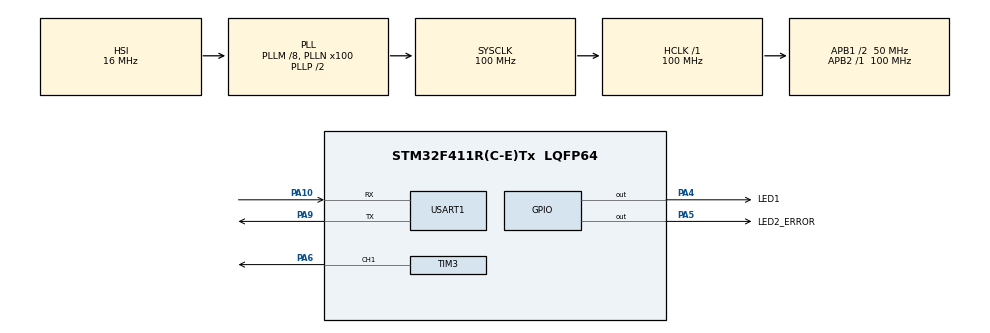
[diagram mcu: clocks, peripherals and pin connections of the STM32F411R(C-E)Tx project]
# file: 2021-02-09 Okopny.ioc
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Mcu.Family=STM32F4
Mcu.Name=STM32F411R(C-E)Tx
Mcu.Package=LQFP64
NVIC.PriorityGroup=NVIC_PRIORITYGROUP_4
NVIC.RTC_Alarm_IRQn=true\:0\:0\:false\:false\:true\:true\:true\:true
NVIC.RTC_WKUP_IRQn=true\:0\:0\:false\:false\:true\:true\:true\:true
NVIC.USART1_IRQn=true\:0\:0\:false\:false\:true\:true\:true\:true
PA10.Mode=Asynchronous
PA10.Signal=USART1_RX
PA13.Mode=Serial_Wire
PA13.Signal=SYS_JTMS-SWDIO
PA14.Mode=Serial_Wire
PA14.Signal=SYS_JTCK-SWCLK
PA4.GPIO_Label=LED1
PA4.Signal=GPIO_Output
PA5.GPIO_Label=LED2_ERROR
PA5.Signal=GPIO_Output
PA6.Signal=S_TIM3_CH1
PA9.Mode=Asynchronous
PA9.Signal=USART1_TX
PC14-OSC32_IN.Mode=LSE-External-Oscillator
PC14-OSC32_IN.Signal=RCC_OSC32_IN
PC15-OSC32_OUT.Mode=LSE-External-Oscillator
PC15-OSC32_OUT.Signal=RCC_OSC32_OUT
PH0\ -\ OSC_IN.Mode=HSE-External-Oscillator
PH0\ -\ OSC_IN.Signal=RCC_OSC_IN
PH1\ -\ OSC_OUT.Mode=HSE-External-Oscillator
PH1\ -\ OSC_OUT.Signal=RCC_OSC_OUT
ProjectManager.HeapSize=0x200
ProjectManager.StackSize=0x400
ProjectManager.TargetToolchain=EWARM V8.50
RCC.48MHZClocksFreq_Value=50000000
RCC.AHBFreq_Value=100000000
RCC.APB1CLKDivider=RCC_HCLK_DIV2
RCC.APB1Freq_Value=50000000
RCC.APB1TimFreq_Value=100000000
RCC.APB2Freq_Value=100000000
RCC.APB2TimFreq_Value=100000000
RCC.CortexFreq_Value=100000000
RCC.HCLKFreq_Value=100000000
RCC.HSE_VALUE=8000000
RCC.HSI_VALUE=16000000
RCC.PLLM=8
RCC.PLLN=100
RCC.RCC_RTC_Clock_Source=RCC_RTCCLKSOURCE_LSE
RCC.RCC_RTC_Clock_SourceVirtual=RCC_RTCCLKSOURCE_LSE
RCC.SYSCLKFreq_VALUE=100000000
RCC.SYSCLKSource=RCC_SYSCLKSOURCE_PLLCLK
RCC.VCOOutputFreq_Value=200000000
RTC.Alarm=RTC_ALARM_A
RTC.AlarmMaskDateWeekDay=RTC_ALARMMASK_DATEWEEKDAY
RTC.AlarmMaskDateWeekDay_B=RTC_ALARMMASK_DATEWEEKDAY
RTC.Alarm_B=RTC_ALARM_B
RTC.Format=RTC_FORMAT_BIN
RTC.WakeUpClock=RTC_WAKEUPCLOCK_CK_SPRE_16BITS
SH.S_TIM3_CH1.0=TIM3_CH1,PWM Generation1 CH1
TIM3.Channel-PWM\ Generation1\ CH1=TIM_CHANNEL_1
USART1.VirtualMode=VM_ASYNC
VP_RTC_VS_RTC_Activate.Mode=RTC_Enabled
VP_RTC_VS_RTC_Alarm_A_Intern.Mode=Alarm A
VP_RTC_VS_RTC_Alarm_B_Intern.Mode=Alarm B
VP_RTC_VS_RTC_Calendar.Mode=RTC_Calendar
VP_RTC_VS_RTC_WakeUp_intern.Mode=WakeUp
VP_TIM3_VS_ClockSourceINT.Mode=Internal
board=custom

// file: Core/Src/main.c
/* USER CODE BEGIN Header */
/**
  ******************************************************************************
  * @file           : main.c
  * @brief          : Main program body
  ******************************************************************************
  * @attention
  *
  * <h2><center>&copy; Copyright (c) 2021 STMicroelectronics.
  * All rights reserved.</center></h2>
  *
  * This software component is licensed by ST under BSD 3-Clause license,
  * the "License"; You may not use this file except in compliance with the
  * License. You may obtain a copy of the License at:
  *                        opensource.org/licenses/BSD-3-Clause
  *
  ******************************************************************************
  */
/* USER CODE END Header */
#include "main.h"

/* USER CODE BEGIN Includes */
#include <stdio.h>
#include <stdbool.h>
/* USER CODE END Includes */

/* USER CODE BEGIN PD */
#define KEY_ENTER	13
#define KEY_RIGHT	68
#define KEY_LEFT	67
#define KEY_DOWN	66
#define KEY_UP		65
// курсор и меню...
#define CURSOR_START	23
#define MENU_ITEM		6
/* USER CODE END PD */

/* USER CODE BEGIN PM */
#define CURSOR_PRINT(x) printf("\x1B[%u;15H       \x1B[%u;15H       \x1B[%u;15H >>>>>>", x + 1, x - 1, x) /* вывод курсора главного меню */

/* USER CODE END PM */

RTC_HandleTypeDef hrtc;

TIM_HandleTypeDef htim3;

UART_HandleTypeDef huart1;

/* USER CODE BEGIN PV */
RTC_TimeTypeDef sTime = {0};
RTC_DateTypeDef sDate = {0};
RTC_AlarmTypeDef sAlarm = {0};
uint8_t uartBuf[1]; // буффер для получения символа от UART по прерыванию
uint8_t cursorPos = CURSOR_START; // текущая позиция курсора на главном экране
uint8_t menu = 0; // хранит номер выбранного пункта меню или 0
bool echo = false; // флаг управления выводом эхо на экран при вводе значений
/* USER CODE END PV */

void SystemClock_Config(void);
static void MX_GPIO_Init(void);
static void MX_RTC_Init(void);
static void MX_TIM3_Init(void);
static void MX_USART1_UART_Init(void);
/* USER CODE BEGIN PFP */
void showMainMemu(); // главный экран
void showDialog(char *head, char *pattern); // формируем стандартный диалог
void showSetDateMemu(); // меню установки даты
void showSetTimeMemu(); // меню установки времени
void showSetAlarmTimeONMemu(); // меню установки будильника на включение светодиода
void showSetAlarmTimeOFFMemu(); // меню установки будильника на выключение светодиода
void showParseStringMemu(); // меню парсинга
void showSetPWMMemu(); // меню установки будильника на включение светодиода
/* USER CODE END PFP */

/* USER CODE BEGIN 0 */
int MyLowLevelPutchar(int x) // отправка байта в UART через printf и пр.
{
  	HAL_UART_Transmit(&huart1, (uint8_t *)&x, 1, 0xFFFF);
	return(x);
}

int MyLowLevelGetchar() // получение байта из UART в блокировочном режиме через scanf и пр.
{
  	uint8_t x;
	do
	{
	  	HAL_UART_Receive(&huart1, (uint8_t *)&x, 1, 0xFFFF);
	}
	while(x == 0);
	if(echo)
		printf("%c", x); // вывод эха если нужно
	return((int)x);
}

void HAL_UART_RxCpltCallback(UART_HandleTypeDef *huart) // калбек по приему от UART
{
	if(huart == &huart1)
	{
		// обрабатываем нажатия клавиш
		switch(uartBuf[0])
		{
		case KEY_UP:
			if(cursorPos > CURSOR_START) cursorPos--;
			break;
		case KEY_DOWN:
			if(cursorPos < CURSOR_START + MENU_ITEM - 1) cursorPos++;
			break;
		case KEY_ENTER:
			menu = cursorPos - CURSOR_START + 1; // говорим основной программе какой пункт меню выбран
			break;
		}

		if(uartBuf[0] != 0x1B) // двигаем курсор только при получении кода клавиши, пропустив начало управляющей последовательности 0x1B
			CURSOR_PRINT(cursorPos); // вывод курсора главного меню

		HAL_UART_Receive_IT(&huart1, (uint8_t*)uartBuf, 1); // опять разрешаем прерывание по приему от UART, вызов колбека после получения каждого байта
	}
}

void HAL_RTCEx_WakeUpTimerEventCallback(RTC_HandleTypeDef *hrtc) // калбек WakeUp таймера
{
	// обновляем значение времени в консоли каждую секунду

	// прочитаем DT из RTC
	HAL_RTC_GetTime(hrtc, &sTime, RTC_FORMAT_BIN);
	HAL_RTC_GetDate(hrtc, &sDate, RTC_FORMAT_BIN);

	// выводим дату/время
	printf("\x1B[s"); // сохраняем текущую позицию курсора, чтобы ничего ненарушить в основной программе
	printf("\x1B[14;50H"); // позиция курсора для даты
	printf("Date: 20%02u-%02u-%02u", sDate.Year, sDate.Month, sDate.Date);
	printf("\x1B[16;50H"); // позиция курсора для вывода времени
	printf("Time:   %02u:%02u:%02u", sTime.Hours, sTime.Minutes, sTime.Seconds);
	printf("\x1B[u"); // восстанавливаем позицию курсора
}

void HAL_RTC_AlarmAEventCallback(RTC_HandleTypeDef *hrtc) // калбек будильника A
{
	HAL_GPIO_WritePin(LED1_GPIO_Port, LED1_Pin, GPIO_PIN_SET); // on
	showMainMemu(); // перерисуем интерфейс, чтобы обновился статус светодиода
}

void HAL_RTCEx_AlarmBEventCallback(RTC_HandleTypeDef *hrtc)  // калбек будильника B
{
	HAL_GPIO_WritePin(LED1_GPIO_Port, LED1_Pin, GPIO_PIN_RESET); // off
	showMainMemu(); // перерисуем интерфейс, чтобы обновился статус светодиода
}

void showMainMemu() // формируем главный экран в консоли
{
  	// http://microsin.net/adminstuff/xnix/ansivt100-terminal-control-escape-sequences.html		- управляющие последовательности
  	// https://pixelplus.ru/samostoyatelno/stati/vnutrennie-faktory/tablica-simvolov-unicode.html	- таблица символов UTF-8

  	// сброс всех настроек терминала, стирание экрана, установка курсора на 0 позицию, сброс всех атрибутов
	printf("\x1Bс\x1B[2J\x1B[0;0H\x1B[0m");

	// формируем рабочую область экрана
	printf("\r\n\r\n\r\n\x1B[1;32m");
	printf("\r\n\t\t ╔══╗ ╔═══╗╔══╗    ╔╗╔╗╔════╗ ╔╗╔══╗╔══╗");
	printf("\r\n\t\t ║╔╗╚╗║╔══╝║╔═╝    ║║║║╚═╗╔═╝╔╝║║╔╗║║╔╗║");
	printf("\r\n\t\t ║║╚╗║║╚══╗║║      ║║║║  ║║  ╚╗║║║║║║║║║");
	printf("\r\n\t\t ║║ ║║║╔══╝║║      ║╚╝║  ║║   ║║║║║║║║║║");
	printf("\r\n\t\t ║╚═╝║║╚══╗║╚═╗    ╚╗╔╝  ║║   ║║║╚╝║║╚╝║");
	printf("\r\n\t\t ╚═══╝╚═══╝╚══╝     ╚╝   ╚╝   ╚╝╚══╝╚══╝");
	printf("\r\n\r\n\x1B[0m");
	printf("\r\n\t╔═══════════════════════════════════════╦════════════════╗");
	printf("\r\n\t║\t\t\t\t\t║\t\t ║");
	printf("\r\n\t║\t\x1B[1;33m (c) 2021-02-09 RusikOk \x1B[0m \t╟────────────────╢");
	printf("\r\n\t║\t\t\t\t\t║\t\t ║");
	printf("\r\n\t╠═══════════════════════════════════════╬════════════════╣");
	printf("\r\n\t║\t\t\t\t\t║\t\t ║");
	printf("\r\n\t║\t\t MENU\t\t\t║     STATE      ║");
	printf("\r\n\t║\t\t\t\t\t║\t\t ║");
	printf("\r\n\t╠═══════════════════════════════════════╬════════════════╣");
	printf("\r\n\t║\t\t\t\t\t║\t\t ║");
	printf("\r\n\t║\t\t Set Date \t\t║\t\t ║");
	printf("\r\n\t║\t\t Set Time \t\t║\t\t ║");
	printf("\r\n\t║\t\t Set Alarm Time ON \t║\t\t ║");
	printf("\r\n\t║\t\t Set Alarm Time OFF \t║\t\t ║");
	printf("\r\n\t║\t\t Parse string \t\t║\t\t ║");
	printf("\r\n\t║\t\t Set PWM \t\t║\t\t ║");
	printf("\r\n\t║\t\t\t\t\t║\t\t ║");
	printf("\r\n\t╠═══════════════════════════════════════╩════════════════╣");
	printf("\r\n\t║ Для перехода по пунктам меню используйте клавиши \t ║");
	printf("\r\n\t║ управления курсором UP и DOWN. \t\t\t ║");
	printf("\r\n\t║ Use the UP and DOWN cursor keys to navigate through \t ║");
	printf("\r\n\t║ the menu items. \t\t\t\t\t ║");
	printf("\r\n\t╚════════════════════════════════════════════════════════╝");

	// вывод курсора главного меню
	CURSOR_PRINT(cursorPos);

	// выводим состояние переменных
	printf("\x1B[24;52H LED1: %s", GPIO_PIN_SET == HAL_GPIO_ReadPin(LED1_GPIO_Port, LED1_Pin) ? "\x1B[41mON\x1B[0m" : "OFF"); // LED1
	printf("\x1B[27;52H PWM: %u%", htim3.Instance->CCR1 / (65535 / 100)); // PWM
}

void showDialog(char *head, char *pattern) // формируем стандартный диалог
{
	uint8_t i = 20; // счетчик для удобной навигации по строкам

	// формируем рабочую область экрана
	printf("\x1B[30;47m"); // изменим фон и пр.
	printf("\x1B[%u;24H╔════════════════════╗", i++);
	//printf("\x1B[%u;24H║                    ║", i++);
	printf("\x1B[%u;%uH%s", i - 1, 24 + 22 / 2 - strlen(head) / 2, head);
	//printf("\x1B[%u;24H╟────────────────────╢", i++);
	printf("\x1B[%u;24H║                    ║", i++);
	printf("\x1B[%u;%uH%s", i - 1, 24 + 22 / 2 - strlen(pattern) / 2, pattern);
	printf("\x1B[%u;24H╚════════════════════╝", i++);
	//printf("\t\t\t\t %s", head);
	printf("\x1B[0m"); // сбрасываем все настройки
}

void showSetDateMemu() // меню установки даты
{
	uint8_t tmp;
	echo = true; // включаем эхо
	HAL_RTCEx_DeactivateWakeUpTimer(&hrtc); // останавливаем прерывание от RTC раз в секунду

	printf("\x1B[50;0H");
	printf("введите год YY: ");
	scanf("%u", &tmp);

	printf("введи месяц MM: ");
	scanf("%u", &sDate.Month);
	if(sDate.Month > 12)
		sDate.Month = 12;

	printf("введите номер дня DD: ");
	scanf("%u", &sDate.Date);
	if(sDate.Date > 31)
		sDate.Date = 31;

	if(tmp < 99) // контроль входных значний
		sDate.Year = tmp;

	// собственно установка новой даты
	HAL_RTC_SetDate(&hrtc, &sDate, RTC_FORMAT_BIN);

	HAL_RTCEx_SetWakeUpTimer_IT(&hrtc, 0, RTC_WAKEUPCLOCK_CK_SPRE_16BITS); // запускаем прерывание от RTC раз в секунду
	echo = false; // выключаем эхо
}

void showSetTimeMemu() // меню установки времени
{
	echo = true; // включаем эхо
	HAL_RTCEx_DeactivateWakeUpTimer(&hrtc); // останавливаем прерывание от RTC раз в секунду

	printf("\x1B[50;0H");
	printf("введите часы HH: ");
	scanf("%u", &sTime.Hours);
	if(sTime.Hours > 23)
		sTime.Hours = 23;

	printf("введите минуты MM: ");
	scanf("%u", &sTime.Minutes);
	if(sTime.Minutes > 60)
		sTime.Minutes = 60;

	sTime.Seconds = 0;
	sTime.SubSeconds = 0;
	HAL_RTC_SetTime(&hrtc, &sTime, RTC_FORMAT_BIN);

	HAL_RTCEx_SetWakeUpTimer_IT(&hrtc, 0, RTC_WAKEUPCLOCK_CK_SPRE_16BITS); // запускаем прерывание от RTC раз в секунду
	echo = false; // выключаем эхо
}

void showSetAlarmTimeONMemu() // меню установки будильника на включение светодиода
{
	echo = true; // включаем эхо
	HAL_RTCEx_DeactivateWakeUpTimer(&hrtc); // останавливаем прерывание от RTC раз в секунду

	printf("\x1B[50;0H");
	printf("введите часы HH: ");
	scanf("%u", &sAlarm.AlarmTime.Hours);
	if(sTime.Hours > 23)
		sTime.Hours = 23;

	printf("введите минуты MM: ");
	scanf("%u", &sAlarm.AlarmTime.Minutes);
	if(sTime.Minutes > 60)
		sTime.Minutes = 60;

	sAlarm.AlarmTime.Seconds = 0;
	sAlarm.AlarmTime.SubSeconds = 0;
	sAlarm.AlarmTime.DayLightSaving = RTC_DAYLIGHTSAVING_NONE;
	sAlarm.AlarmTime.StoreOperation = RTC_STOREOPERATION_RESET;
	sAlarm.AlarmMask = RTC_ALARMMASK_DATEWEEKDAY;
	sAlarm.AlarmSubSecondMask = RTC_ALARMSUBSECONDMASK_ALL;
	sAlarm.AlarmDateWeekDaySel = RTC_ALARMDATEWEEKDAYSEL_DATE;
	sAlarm.AlarmDateWeekDay = 1;
	sAlarm.Alarm = RTC_ALARM_A;

	HAL_RTC_SetAlarm_IT(&hrtc, &sAlarm, RTC_FORMAT_BIN);

	HAL_RTCEx_SetWakeUpTimer_IT(&hrtc, 0, RTC_WAKEUPCLOCK_CK_SPRE_16BITS); // запускаем прерывание от RTC раз в секунду
	echo = false; // выключаем эхо
}

void showSetAlarmTimeOFFMemu() // меню установки будильника на выключение светодиода
{
	echo = true; // включаем эхо
	HAL_RTCEx_DeactivateWakeUpTimer(&hrtc); // останавливаем прерывание от RTC раз в секунду

	printf("\x1B[50;0H");
	printf("введите часы HH: ");
	scanf("%u", &sAlarm.AlarmTime.Hours);
	if(sTime.Hours > 23)
		sTime.Hours = 23;

	printf("введите минуты MM: ");
	scanf("%u", &sAlarm.AlarmTime.Minutes);
	if(sTime.Minutes > 60)
		sTime.Minutes = 60;

	sAlarm.AlarmTime.Seconds = 0;
	sAlarm.AlarmTime.SubSeconds = 0;
	sAlarm.AlarmTime.DayLightSaving = RTC_DAYLIGHTSAVING_NONE;
	sAlarm.AlarmTime.StoreOperation = RTC_STOREOPERATION_RESET;
	sAlarm.AlarmMask = RTC_ALARMMASK_DATEWEEKDAY;
	sAlarm.AlarmSubSecondMask = RTC_ALARMSUBSECONDMASK_ALL;
	sAlarm.AlarmDateWeekDaySel = RTC_ALARMDATEWEEKDAYSEL_DATE;
	sAlarm.AlarmDateWeekDay = 1;
	sAlarm.Alarm = RTC_ALARM_B;

	HAL_RTC_SetAlarm_IT(&hrtc, &sAlarm, RTC_FORMAT_BIN);

	HAL_RTCEx_SetWakeUpTimer_IT(&hrtc, 0, RTC_WAKEUPCLOCK_CK_SPRE_16BITS); // запускаем прерывание от RTC раз в секунду
	echo = false; // выключаем эхо
}

void showParseStringMemu() // меню парсинга
{
	echo = true; // включаем эхо
	printf("showParseStringMemu()");
	echo = false; // выключаем эхо
}

void showSetPWMMemu() // меню установки будильника на включение светодиода
{
	echo = true; // включаем эхо
	printf("\x1B[50;0H");
	printf("введите процент скважности ШИМ (0 - 100): ");
	uint8_t pwm;
	scanf("%u", &pwm);
	if(pwm > 100) // контроль входных значний
		pwm = 100;

	htim3.Instance->CCR1 = 65535 / 100 * pwm; // задаем скважность PWM в процентах
	echo = false; // выключаем эхо
}
/* USER CODE END 0 */

int main(void)
{

  /* MCU Configuration--------------------------------------------------------*/

  /* Reset of all peripherals, Initializes the Flash interface and the Systick. */
  HAL_Init();

  /* Configure the system clock */
  SystemClock_Config();

  /* Initialize all configured peripherals */
  MX_GPIO_Init();
  MX_RTC_Init();
  MX_TIM3_Init();
  MX_USART1_UART_Init();
  /* USER CODE BEGIN 2 */

  	htim3.Instance->CCR1 = 1000; // задаем начальное значение скважности ШИМ
	HAL_TIM_PWM_Start(&htim3, TIM_CHANNEL_1); // запускаем ШИМ

	HAL_UART_Receive_IT(&huart1, (uint8_t*)uartBuf, 1); // разрешаем прерывание по приему от UART, вызов колбека после получения каждого байта

	showMainMemu(); // формируем главный экран в консоли

  /* USER CODE END 2 */

  /* Infinite loop */
  /* USER CODE BEGIN WHILE */
  while(1)
  {
	if(menu)
	{
		// остановка приема по прерыванию на время работы в блокировочном режиме через scanf
		HAL_UART_AbortReceive(&huart1);

		// выполнение процедуры ввода данных
		switch(menu) // похоже со структурой я перемудрил. нужно было просто объявить глобальную переменную
		{
			case 1: showSetDateMemu(); 		break; // меню установки даты
			case 2: showSetTimeMemu(); 		break; // меню установки времени
			case 3: showSetAlarmTimeONMemu(); 	break; // меню установки будильника на включение светодиода
			case 4: showSetAlarmTimeOFFMemu(); 	break; // меню установки будильника на выключение светодиода
			case 5: showParseStringMemu(); 		break; // меню парсинга
			case 6: showSetPWMMemu(); 		break; // меню установки будильника на включение светодиода
		}
		menu = 0; // сбрасываем флаг

		showMainMemu(); // формируем главный экран в консоли

		// разрешаем прерывание по приему от UART, вызов колбека после получения каждого байта
		HAL_UART_Receive_IT(&huart1, (uint8_t*)uartBuf, 1);
	}

    /* USER CODE END WHILE */

  }
}

void SystemClock_Config(void)
{
  RCC_OscInitTypeDef RCC_OscInitStruct = {0};
  RCC_ClkInitTypeDef RCC_ClkInitStruct = {0};

  /** Configure the main internal regulator output voltage
  */
  __HAL_RCC_PWR_CLK_ENABLE();
  __HAL_PWR_VOLTAGESCALING_CONFIG(PWR_REGULATOR_VOLTAGE_SCALE1);

  /** Initializes the RCC Oscillators according to the specified parameters
  * in the RCC_OscInitTypeDef structure.
  */
  RCC_OscInitStruct.OscillatorType = RCC_OSCILLATORTYPE_HSI|RCC_OSCILLATORTYPE_LSE;
  RCC_OscInitStruct.LSEState = RCC_LSE_ON;
  RCC_OscInitStruct.HSIState = RCC_HSI_ON;
  RCC_OscInitStruct.HSICalibrationValue = RCC_HSICALIBRATION_DEFAULT;
  RCC_OscInitStruct.PLL.PLLState = RCC_PLL_ON;
  RCC_OscInitStruct.PLL.PLLSource = RCC_PLLSOURCE_HSI;
  RCC_OscInitStruct.PLL.PLLM = 8;
  RCC_OscInitStruct.PLL.PLLN = 100;
  RCC_OscInitStruct.PLL.PLLP = RCC_PLLP_DIV2;
  RCC_OscInitStruct.PLL.PLLQ = 4;
  if (HAL_RCC_OscConfig(&RCC_OscInitStruct) != HAL_OK)
  {
    Error_Handler();
  }

  /** Initializes the CPU, AHB and APB buses clocks
  */
  RCC_ClkInitStruct.ClockType = RCC_CLOCKTYPE_HCLK|RCC_CLOCKTYPE_SYSCLK
                              |RCC_CLOCKTYPE_PCLK1|RCC_CLOCKTYPE_PCLK2;
  RCC_ClkInitStruct.SYSCLKSource = RCC_SYSCLKSOURCE_PLLCLK;
  RCC_ClkInitStruct.AHBCLKDivider = RCC_SYSCLK_DIV1;
  RCC_ClkInitStruct.APB1CLKDivider = RCC_HCLK_DIV2;
  RCC_ClkInitStruct.APB2CLKDivider = RCC_HCLK_DIV1;

  if (HAL_RCC_ClockConfig(&RCC_ClkInitStruct, FLASH_LATENCY_3) != HAL_OK)
  {
    Error_Handler();
  }
}

static void MX_RTC_Init(void)
{

  /** Initialize RTC Only
  */
  hrtc.Instance = RTC;
  hrtc.Init.HourFormat = RTC_HOURFORMAT_24;
  hrtc.Init.AsynchPrediv = 127;
  hrtc.Init.SynchPrediv = 255;
  hrtc.Init.OutPut = RTC_OUTPUT_DISABLE;
  hrtc.Init.OutPutPolarity = RTC_OUTPUT_POLARITY_HIGH;
  hrtc.Init.OutPutType = RTC_OUTPUT_TYPE_OPENDRAIN;
  if (HAL_RTC_Init(&hrtc) != HAL_OK)
  {
    Error_Handler();
  }

  /* USER CODE BEGIN Check_RTC_BKUP */

  	if(HAL_OK != HAL_RTCEx_SetWakeUpTimer_IT(&hrtc, 0, RTC_WAKEUPCLOCK_CK_SPRE_16BITS)) // запускаем прерывание от RTC раз в секунду
		Error_Handler();

	if(ENABLE == (*(__IO uint32_t *)RCC_BDCR_RTCEN_BB)) // если батарейка жива и часы идут
		return; // то пропустим инициализачию часов нулями

  /* USER CODE END Check_RTC_BKUP */

  /** Initialize RTC and set the Time and Date
  */
  sTime.Hours = 0;
  sTime.Minutes = 0;
  sTime.Seconds = 0;
  sTime.DayLightSaving = RTC_DAYLIGHTSAVING_NONE;
  sTime.StoreOperation = RTC_STOREOPERATION_RESET;
  if (HAL_RTC_SetTime(&hrtc, &sTime, RTC_FORMAT_BIN) != HAL_OK)
  {
    Error_Handler();
  }
  sDate.WeekDay = RTC_WEEKDAY_MONDAY;
  sDate.Month = RTC_MONTH_JANUARY;
  sDate.Date = 1;
  sDate.Year = 0;

  if (HAL_RTC_SetDate(&hrtc, &sDate, RTC_FORMAT_BIN) != HAL_OK)
  {
    Error_Handler();
  }

  /** Enable the Alarm A
  */
  sAlarm.AlarmTime.Hours = 0;
  sAlarm.AlarmTime.Minutes = 0;
  sAlarm.AlarmTime.Seconds = 0;
  sAlarm.AlarmTime.SubSeconds = 0;
  sAlarm.AlarmTime.DayLightSaving = RTC_DAYLIGHTSAVING_NONE;
  sAlarm.AlarmTime.StoreOperation = RTC_STOREOPERATION_RESET;
  sAlarm.AlarmMask = RTC_ALARMMASK_DATEWEEKDAY;
  sAlarm.AlarmSubSecondMask = RTC_ALARMSUBSECONDMASK_ALL;
  sAlarm.AlarmDateWeekDaySel = RTC_ALARMDATEWEEKDAYSEL_DATE;
  sAlarm.AlarmDateWeekDay = 1;
  sAlarm.Alarm = RTC_ALARM_A;
  if (HAL_RTC_SetAlarm_IT(&hrtc, &sAlarm, RTC_FORMAT_BIN) != HAL_OK)
  {
    Error_Handler();
  }

  /** Enable the Alarm B
  */
  sAlarm.Alarm = RTC_ALARM_B;
  if (HAL_RTC_SetAlarm_IT(&hrtc, &sAlarm, RTC_FORMAT_BIN) != HAL_OK)
  {
    Error_Handler();
  }

  /** Enable the WakeUp
  */
  if (HAL_RTCEx_SetWakeUpTimer_IT(&hrtc, 0, RTC_WAKEUPCLOCK_CK_SPRE_16BITS) != HAL_OK)
  {
    Error_Handler();
  }

}

static void MX_TIM3_Init(void)
{

  TIM_ClockConfigTypeDef sClockSourceConfig = {0};
  TIM_MasterConfigTypeDef sMasterConfig = {0};
  TIM_OC_InitTypeDef sConfigOC = {0};

  htim3.Instance = TIM3;
  htim3.Init.Prescaler = 0;
  htim3.Init.CounterMode = TIM_COUNTERMODE_UP;
  htim3.Init.Period = 65535;
  htim3.Init.ClockDivision = TIM_CLOCKDIVISION_DIV1;
  htim3.Init.AutoReloadPreload = TIM_AUTORELOAD_PRELOAD_DISABLE;
  if (HAL_TIM_Base_Init(&htim3) != HAL_OK)
  {
    Error_Handler();
  }
  sClockSourceConfig.ClockSource = TIM_CLOCKSOURCE_INTERNAL;
  if (HAL_TIM_ConfigClockSource(&htim3, &sClockSourceConfig) != HAL_OK)
  {
    Error_Handler();
  }
  if (HAL_TIM_PWM_Init(&htim3) != HAL_OK)
  {
    Error_Handler();
  }
  sMasterConfig.MasterOutputTrigger = TIM_TRGO_RESET;
  sMasterConfig.MasterSlaveMode = TIM_MASTERSLAVEMODE_DISABLE;
  if (HAL_TIMEx_MasterConfigSynchronization(&htim3, &sMasterConfig) != HAL_OK)
  {
    Error_Handler();
  }
  sConfigOC.OCMode = TIM_OCMODE_PWM1;
  sConfigOC.Pulse = 0;
  sConfigOC.OCPolarity = TIM_OCPOLARITY_HIGH;
  sConfigOC.OCFastMode = TIM_OCFAST_DISABLE;
  if (HAL_TIM_PWM_ConfigChannel(&htim3, &sConfigOC, TIM_CHANNEL_1) != HAL_OK)
  {
    Error_Handler();
  }
  HAL_TIM_MspPostInit(&htim3);

}

static void MX_USART1_UART_Init(void)
{

  huart1.Instance = USART1;
  huart1.Init.BaudRate = 115200;
  huart1.Init.WordLength = UART_WORDLENGTH_8B;
  huart1.Init.StopBits = UART_STOPBITS_1;
  huart1.Init.Parity = UART_PARITY_NONE;
  huart1.Init.Mode = UART_MODE_TX_RX;
  huart1.Init.HwFlowCtl = UART_HWCONTROL_NONE;
  huart1.Init.OverSampling = UART_OVERSAMPLING_16;
  if (HAL_UART_Init(&huart1) != HAL_OK)
  {
    Error_Handler();
  }

}

static void MX_GPIO_Init(void)
{
  GPIO_InitTypeDef GPIO_InitStruct = {0};

  /* GPIO Ports Clock Enable */
  __HAL_RCC_GPIOC_CLK_ENABLE();
  __HAL_RCC_GPIOH_CLK_ENABLE();
  __HAL_RCC_GPIOA_CLK_ENABLE();

  /*Configure GPIO pin Output Level */
  HAL_GPIO_WritePin(GPIOA, LED1_Pin|LED2_ERROR_Pin, GPIO_PIN_RESET);

  /*Configure GPIO pins : LED1_Pin LED2_ERROR_Pin */
  GPIO_InitStruct.Pin = LED1_Pin|LED2_ERROR_Pin;
  GPIO_InitStruct.Mode = GPIO_MODE_OUTPUT_PP;
  GPIO_InitStruct.Pull = GPIO_NOPULL;
  GPIO_InitStruct.Speed = GPIO_SPEED_FREQ_LOW;
  HAL_GPIO_Init(GPIOA, &GPIO_InitStruct);

}

void Error_Handler(void)
{
  /* USER CODE BEGIN Error_Handler_Debug */
  /* User can add his own implementation to report the HAL error return state */
  __disable_irq();
  HAL_GPIO_WritePin(LED2_ERROR_GPIO_Port, LED2_ERROR_Pin, GPIO_PIN_SET); // отдельный светодиод на индикацию ошибок HAL, hard fault...
  while (1)
  {
  }
  /* USER CODE END Error_Handler_Debug */
}
